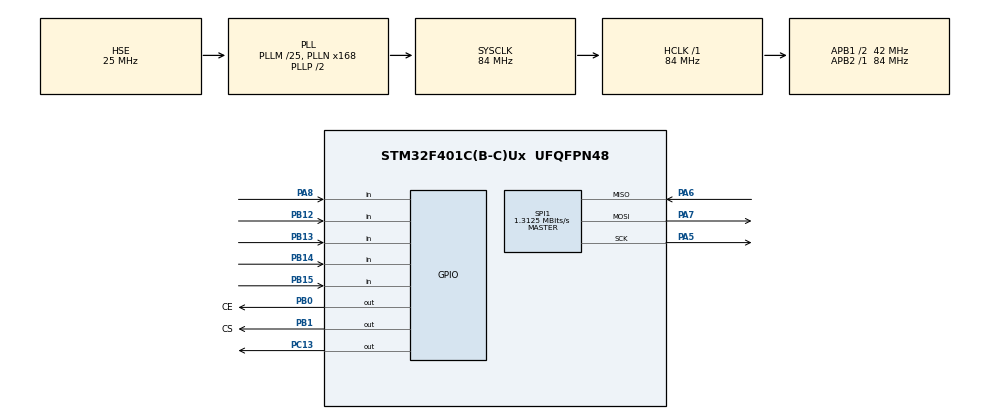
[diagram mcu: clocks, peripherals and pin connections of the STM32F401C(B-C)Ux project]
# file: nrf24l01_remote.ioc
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Mcu.Family=STM32F4
Mcu.Name=STM32F401C(B-C)Ux
Mcu.Package=UFQFPN48
NVIC.PriorityGroup=NVIC_PRIORITYGROUP_4
PA13.Mode=Serial_Wire
PA13.Signal=SYS_JTMS-SWDIO
PA14.Mode=Serial_Wire
PA14.Signal=SYS_JTCK-SWCLK
PA5.Mode=Full_Duplex_Master
PA5.Signal=SPI1_SCK
PA6.Mode=Full_Duplex_Master
PA6.Signal=SPI1_MISO
PA7.Mode=Full_Duplex_Master
PA7.Signal=SPI1_MOSI
PA8.GPIO_PuPd=GPIO_PULLDOWN
PA8.Signal=GPIO_Input
PB0.GPIO_Label=CE
PB0.Signal=GPIO_Output
PB1.GPIO_Label=CS
PB1.Signal=GPIO_Output
PB12.GPIO_PuPd=GPIO_PULLDOWN
PB12.Signal=GPIO_Input
PB13.GPIO_PuPd=GPIO_PULLDOWN
PB13.Signal=GPIO_Input
PB14.GPIO_PuPd=GPIO_PULLDOWN
PB14.Signal=GPIO_Input
PB15.GPIO_PuPd=GPIO_PULLDOWN
PB15.Signal=GPIO_Input
PC13-ANTI_TAMP.Signal=GPIO_Output
PH0\ -\ OSC_IN.Mode=HSE-External-Oscillator
PH0\ -\ OSC_IN.Signal=RCC_OSC_IN
PH1\ -\ OSC_OUT.Mode=HSE-External-Oscillator
PH1\ -\ OSC_OUT.Signal=RCC_OSC_OUT
ProjectManager.HeapSize=0x200
ProjectManager.StackSize=0x400
ProjectManager.TargetToolchain=STM32CubeIDE
RCC.48MHZClocksFreq_Value=42000000
RCC.AHBFreq_Value=84000000
RCC.APB1CLKDivider=RCC_HCLK_DIV2
RCC.APB1Freq_Value=42000000
RCC.APB1TimFreq_Value=84000000
RCC.APB2Freq_Value=84000000
RCC.APB2TimFreq_Value=84000000
RCC.CortexFreq_Value=84000000
RCC.HCLKFreq_Value=84000000
RCC.HSE_VALUE=25000000
RCC.HSI_VALUE=16000000
RCC.LSE_VALUE=32768
RCC.PLLM=25
RCC.PLLN=168
RCC.PLLSourceVirtual=RCC_PLLSOURCE_HSE
RCC.SYSCLKFreq_VALUE=84000000
RCC.SYSCLKSource=RCC_SYSCLKSOURCE_PLLCLK
RCC.VCOOutputFreq_Value=168000000
SPI1.BaudRatePrescaler=SPI_BAUDRATEPRESCALER_64
SPI1.CalculateBaudRate=1.3125 MBits/s
SPI1.Direction=SPI_DIRECTION_2LINES
SPI1.Mode=SPI_MODE_MASTER
SPI1.VirtualType=VM_MASTER
board=custom

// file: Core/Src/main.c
/* USER CODE BEGIN Header */
/**
  ******************************************************************************
  * @file           : main.c
  * @brief          : Main program body
  ******************************************************************************
  * @attention
  *
  * Copyright (c) 2024 STMicroelectronics.
  * All rights reserved.
  *
  * This software is licensed under terms that can be found in the LICENSE file
  * in the root directory of this software component.
  * If no LICENSE file comes with this software, it is provided AS-IS.
  *
  ******************************************************************************
  */
/* USER CODE END Header */
#include "main.h"

/* USER CODE BEGIN Includes */
#include "NRF24L01.h"
/* USER CODE END Includes */

SPI_HandleTypeDef hspi1;

/* USER CODE BEGIN PV */
uint8_t TxAddress[] = {0xEE, 0xDD, 0xCC, 0xBB, 0xAA};
uint8_t TxData[] = "Hello World\n";

uint8_t RxAddress[] = {0xEE, 0xDD, 0xCC, 0xBB, 0xAA};
uint8_t RxData[32];
/* USER CODE END PV */

void SystemClock_Config(void);
static void MX_GPIO_Init(void);
static void MX_SPI1_Init(void);

int main(void)
{

  /* MCU Configuration--------------------------------------------------------*/

  /* Reset of all peripherals, Initializes the Flash interface and the Systick. */
  HAL_Init();

  /* Configure the system clock */
  SystemClock_Config();

  /* Initialize all configured peripherals */
  MX_GPIO_Init();
  MX_SPI1_Init();
  /* USER CODE BEGIN 2 */
  NRF24_Init();

  NRF24_TxMode(TxAddress, 10);

  /* USER CODE END 2 */

  /* Infinite loop */
  /* USER CODE BEGIN WHILE */
  while (1)
  {

//	  if(NRF24_Transmit(TxData) == 1){
//		  HAL_GPIO_TogglePin(GPIOC, GPIO_PIN_13);
//	  }
//	  HAL_Delay(100);

	  if(HAL_GPIO_ReadPin(GPIOB, GPIO_PIN_12) == SET){
		  HAL_GPIO_WritePin(GPIOC, GPIO_PIN_13, SET);
		  if(NRF24_Transmit("FF") == 1){
			  HAL_GPIO_TogglePin(GPIOC, GPIO_PIN_13);
		  }
	  }
	  else if(HAL_GPIO_ReadPin(GPIOB, GPIO_PIN_13) == SET){
		  HAL_GPIO_WritePin(GPIOC, GPIO_PIN_13, SET);
		  if(NRF24_Transmit("BB") == 1){
			  HAL_GPIO_TogglePin(GPIOC, GPIO_PIN_13);
		  }
	  }
	  else if(HAL_GPIO_ReadPin(GPIOB, GPIO_PIN_14) == SET){
		  HAL_GPIO_WritePin(GPIOC, GPIO_PIN_13, SET);
		  if(NRF24_Transmit("LL") == 1){
			  HAL_GPIO_TogglePin(GPIOC, GPIO_PIN_13);
		  }
	  }
	  else if(HAL_GPIO_ReadPin(GPIOB, GPIO_PIN_15) == SET){
		  HAL_GPIO_WritePin(GPIOC, GPIO_PIN_13, SET);
		  if(NRF24_Transmit("RR") == 1){
			  HAL_GPIO_TogglePin(GPIOC, GPIO_PIN_13);
		  }
	  }
	  else if(HAL_GPIO_ReadPin(GPIOA, GPIO_PIN_8) == SET){
		  HAL_GPIO_WritePin(GPIOC, GPIO_PIN_13, SET);
		  if(NRF24_Transmit("SS") == 1){
			  HAL_GPIO_TogglePin(GPIOC, GPIO_PIN_13);
		  }
	  }
	  else{
		  HAL_GPIO_WritePin(GPIOC, GPIO_PIN_13, RESET);
	  }
    /* USER CODE END WHILE */

  }
}

void SystemClock_Config(void)
{
  RCC_OscInitTypeDef RCC_OscInitStruct = {0};
  RCC_ClkInitTypeDef RCC_ClkInitStruct = {0};

  /** Configure the main internal regulator output voltage
  */
  __HAL_RCC_PWR_CLK_ENABLE();
  __HAL_PWR_VOLTAGESCALING_CONFIG(PWR_REGULATOR_VOLTAGE_SCALE2);

  /** Initializes the RCC Oscillators according to the specified parameters
  * in the RCC_OscInitTypeDef structure.
  */
  RCC_OscInitStruct.OscillatorType = RCC_OSCILLATORTYPE_HSE;
  RCC_OscInitStruct.HSEState = RCC_HSE_ON;
  RCC_OscInitStruct.PLL.PLLState = RCC_PLL_ON;
  RCC_OscInitStruct.PLL.PLLSource = RCC_PLLSOURCE_HSE;
  RCC_OscInitStruct.PLL.PLLM = 25;
  RCC_OscInitStruct.PLL.PLLN = 168;
  RCC_OscInitStruct.PLL.PLLP = RCC_PLLP_DIV2;
  RCC_OscInitStruct.PLL.PLLQ = 4;
  if (HAL_RCC_OscConfig(&RCC_OscInitStruct) != HAL_OK)
  {
    Error_Handler();
  }

  /** Initializes the CPU, AHB and APB buses clocks
  */
  RCC_ClkInitStruct.ClockType = RCC_CLOCKTYPE_HCLK|RCC_CLOCKTYPE_SYSCLK
                              |RCC_CLOCKTYPE_PCLK1|RCC_CLOCKTYPE_PCLK2;
  RCC_ClkInitStruct.SYSCLKSource = RCC_SYSCLKSOURCE_PLLCLK;
  RCC_ClkInitStruct.AHBCLKDivider = RCC_SYSCLK_DIV1;
  RCC_ClkInitStruct.APB1CLKDivider = RCC_HCLK_DIV2;
  RCC_ClkInitStruct.APB2CLKDivider = RCC_HCLK_DIV1;

  if (HAL_RCC_ClockConfig(&RCC_ClkInitStruct, FLASH_LATENCY_2) != HAL_OK)
  {
    Error_Handler();
  }
}

static void MX_SPI1_Init(void)
{

  /* SPI1 parameter configuration*/
  hspi1.Instance = SPI1;
  hspi1.Init.Mode = SPI_MODE_MASTER;
  hspi1.Init.Direction = SPI_DIRECTION_2LINES;
  hspi1.Init.DataSize = SPI_DATASIZE_8BIT;
  hspi1.Init.CLKPolarity = SPI_POLARITY_LOW;
  hspi1.Init.CLKPhase = SPI_PHASE_1EDGE;
  hspi1.Init.NSS = SPI_NSS_SOFT;
  hspi1.Init.BaudRatePrescaler = SPI_BAUDRATEPRESCALER_64;
  hspi1.Init.FirstBit = SPI_FIRSTBIT_MSB;
  hspi1.Init.TIMode = SPI_TIMODE_DISABLE;
  hspi1.Init.CRCCalculation = SPI_CRCCALCULATION_DISABLE;
  hspi1.Init.CRCPolynomial = 10;
  if (HAL_SPI_Init(&hspi1) != HAL_OK)
  {
    Error_Handler();
  }

}

static void MX_GPIO_Init(void)
{
  GPIO_InitTypeDef GPIO_InitStruct = {0};

  /* GPIO Ports Clock Enable */
  __HAL_RCC_GPIOC_CLK_ENABLE();
  __HAL_RCC_GPIOH_CLK_ENABLE();
  __HAL_RCC_GPIOA_CLK_ENABLE();
  __HAL_RCC_GPIOB_CLK_ENABLE();

  /*Configure GPIO pin Output Level */
  HAL_GPIO_WritePin(GPIOC, GPIO_PIN_13, GPIO_PIN_RESET);

  /*Configure GPIO pin Output Level */
  HAL_GPIO_WritePin(GPIOB, CE_Pin|CS_Pin, GPIO_PIN_RESET);

  /*Configure GPIO pin : PC13 */
  GPIO_InitStruct.Pin = GPIO_PIN_13;
  GPIO_InitStruct.Mode = GPIO_MODE_OUTPUT_PP;
  GPIO_InitStruct.Pull = GPIO_NOPULL;
  GPIO_InitStruct.Speed = GPIO_SPEED_FREQ_LOW;
  HAL_GPIO_Init(GPIOC, &GPIO_InitStruct);

  /*Configure GPIO pins : CE_Pin CS_Pin */
  GPIO_InitStruct.Pin = CE_Pin|CS_Pin;
  GPIO_InitStruct.Mode = GPIO_MODE_OUTPUT_PP;
  GPIO_InitStruct.Pull = GPIO_NOPULL;
  GPIO_InitStruct.Speed = GPIO_SPEED_FREQ_LOW;
  HAL_GPIO_Init(GPIOB, &GPIO_InitStruct);

  /*Configure GPIO pins : PB12 PB13 PB14 PB15 */
  GPIO_InitStruct.Pin = GPIO_PIN_12|GPIO_PIN_13|GPIO_PIN_14|GPIO_PIN_15;
  GPIO_InitStruct.Mode = GPIO_MODE_INPUT;
  GPIO_InitStruct.Pull = GPIO_PULLDOWN;
  HAL_GPIO_Init(GPIOB, &GPIO_InitStruct);

  /*Configure GPIO pin : PA8 */
  GPIO_InitStruct.Pin = GPIO_PIN_8;
  GPIO_InitStruct.Mode = GPIO_MODE_INPUT;
  GPIO_InitStruct.Pull = GPIO_PULLDOWN;
  HAL_GPIO_Init(GPIOA, &GPIO_InitStruct);

}

void Error_Handler(void)
{
  __disable_irq();
  while (1)
  {
  }
}
